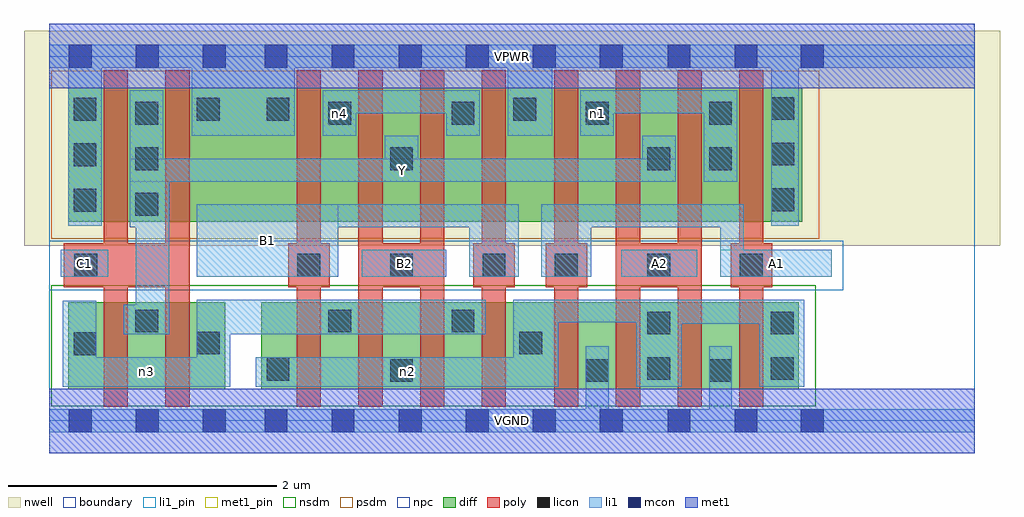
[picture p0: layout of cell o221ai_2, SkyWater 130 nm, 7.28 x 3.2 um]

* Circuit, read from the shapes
.subckt o221ai_2 A1 A2 B1 B2 C1 VGND VPWR Y n1 n2 n3 n4
XM1 Y C1 n3 VSUBS sky130_fd_pr__nfet_01v8 w=0.65 l=0.18 m=2
XM2 n3 B1 n2 VSUBS sky130_fd_pr__nfet_01v8 w=0.65 l=0.18 m=2
XM3 n2 B2 n3 VSUBS sky130_fd_pr__nfet_01v8 w=0.65 l=0.18 m=2
XM4 VGND A1 n2 VSUBS sky130_fd_pr__nfet_01v8 w=0.65 l=0.18 m=2
XM5 n2 A2 VGND VSUBS sky130_fd_pr__nfet_01v8 w=0.65 l=0.18 m=2
XM6 Y C1 VPWR n5 sky130_fd_pr__pfet_01v8 w=1 l=0.18 m=2
XM7 n4 B1 VPWR n5 sky130_fd_pr__pfet_01v8 w=1 l=0.18 m=2
XM8 Y B2 n4 n5 sky130_fd_pr__pfet_01v8 w=1 l=0.18 m=2
XM9 n1 A1 VPWR n5 sky130_fd_pr__pfet_01v8 w=1 l=0.18 m=2
XM10 Y A2 n1 n5 sky130_fd_pr__pfet_01v8 w=1 l=0.18 m=2
.ends

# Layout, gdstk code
import gdstk
lib = gdstk.Library(unit=1e-6, precision=1e-09)
def R(c, l, rs):  # rectangles x0, y0, x1, y1
    for r in rs: c.add(gdstk.rectangle(r[:2], r[2:], *l))
def A(c, l, x, y, w, h, nx, ny, dx, dy):  # array of equal rectangles
    R(c, l, [(x+i*dx, y+j*dy, x+i*dx+w, y+j*dy+h) for i in range(nx) for j in range(ny)])
nwell = (64, 20)
diff = (65, 20)
poly = (66, 20)
licon = (66, 44)
li1_pin = (67, 16)
li1 = (67, 20)
mcon = (67, 44)
met1_pin = (68, 16)
met1 = (68, 20)
nsdm = (93, 44)
psdm = (94, 20)
npc = (95, 20)
boundary = (235, 4)

o221ai_2 = lib.new_cell('o221ai_2')
R(o221ai_2, nwell, [(-0.19,1.305,7.09,2.91), (0,1.305,6.9,2.91)])
R(o221ai_2, diff, [(0.14,0.235,1.31,0.885), (1.58,0.235,5.59,0.885), (0.14,1.485,5.615,2.485)])
A(o221ai_2, poly, 1.845, 0.105, 0.18, 2.51, 4, 1, 0.46, 0)
A(o221ai_2, poly, 3.765, 0.105, 0.18, 2.51, 4, 1, 0.46, 0)
R(o221ai_2, poly, [(0.405,0.105,0.585,2.615), (0.865,0.105,1.045,2.615), (0.105,0.995,1.045,1.325), (1.78,0.995,2.09,1.325), (2.305,0.995,2.945,1.325), (3.16,0.995,3.47,1.325), (3.7,0.995,4.01,1.325), (4.225,0.995,4.865,1.325), (5.08,0.995,5.39,1.325)])
A(o221ai_2, licon, 1.85, 1.075, 0.17, 0.17, 3, 1, 0.69, 0)
A(o221ai_2, licon, 3.77, 1.075, 0.17, 0.17, 3, 1, 0.69, 0)
A(o221ai_2, licon, 0.64, 1.53, 0.17, 0.17, 1, 3, 0, 0.34)
A(o221ai_2, licon, 0.18, 1.56, 0.17, 0.17, 1, 3, 0, 0.34)
A(o221ai_2, licon, 5.385, 1.565, 0.17, 0.17, 1, 3, 0, 0.34)
R(o221ai_2, licon, [(2.54,0.29,2.71,0.46), (4,0.29,4.17,0.46), (4.92,0.29,5.09,0.46), (1.62,0.3,1.79,0.47), (4.46,0.305,4.63,0.475), (5.38,0.305,5.55,0.475), (0.18,0.49,0.35,0.66), (1.1,0.495,1.27,0.665), (3.505,0.495,3.675,0.665), (4.46,0.645,4.63,0.815), (5.38,0.645,5.55,0.815), (0.64,0.66,0.81,0.83), (2.08,0.66,2.25,0.83), (3,0.66,3.17,0.83), (0.185,1.075,0.355,1.245), (2.54,1.87,2.71,2.04), (4.46,1.87,4.63,2.04), (4.92,1.87,5.09,2.04), (2.08,2.21,2.25,2.38), (3,2.21,3.17,2.38), (4,2.21,4.17,2.38), (4.92,2.21,5.09,2.38), (1.1,2.24,1.27,2.41), (1.62,2.24,1.79,2.41), (3.46,2.24,3.63,2.41)])
R(o221ai_2, li1_pin, [(0.085,1.075,0.44,1.275), (1.1,1.075,2.155,1.615), (2.33,1.075,2.96,1.275), (4.265,1.075,4.83,1.275), (5.005,1.075,5.835,1.275), (0.6,1.785,4.67,1.955)])
R(o221ai_2, li1, [(0,-0.085,6.9,0.085), (4,-0.085,4.17,0.555), (4.92,-0.085,5.09,0.555), (0.1,0.255,1.35,0.475), (0.1,0.255,0.35,0.895), (1.1,0.255,1.35,0.905), (1.54,0.255,3.795,0.475), (3.46,0.255,3.795,0.905), (4.375,0.255,4.715,0.905), (5.295,0.255,5.63,0.905), (0.555,0.645,0.895,0.865), (0.645,0.645,0.895,1.955), (1.1,0.645,3.255,0.905), (4.375,0.725,5.63,0.905), (3.46,0.735,5.63,0.905), (0.085,1.075,0.44,1.275), (1.1,1.075,2.155,1.615), (2.33,1.075,2.96,1.275), (3.13,1.075,3.5,1.615), (3.67,1.075,4.04,1.615), (4.265,1.075,4.83,1.275), (5.005,1.075,5.835,1.275), (5.005,1.075,5.18,1.615), (0.6,1.445,0.85,2.465), (1.1,1.445,3.5,1.615), (3.67,1.445,5.18,1.615), (0.14,1.455,0.39,2.805), (5.385,1.455,5.59,2.805), (0.6,1.785,4.67,1.955), (2.5,1.785,2.75,2.125), (4.42,1.785,4.67,2.125), (4.88,1.785,5.13,2.465), (1.06,2.125,1.83,2.805), (2.04,2.125,2.29,2.465), (2.96,2.125,3.21,2.465), (3.42,2.125,3.75,2.805), (3.96,2.125,4.21,2.465), (2.04,2.295,3.21,2.465), (3.96,2.295,5.13,2.465), (0,2.635,6.9,2.805)])
A(o221ai_2, mcon, 0.145, -0.085, 0.17, 0.17, 3, 2, 0.5, 2.72)
A(o221ai_2, mcon, 1.605, -0.085, 0.17, 0.17, 6, 2, 0.5, 2.72)
R(o221ai_2, mcon, [(4.61,-0.085,4.78,0.085), (5.11,-0.085,5.28,0.085), (5.605,-0.085,5.775,0.085), (4.61,2.635,4.78,2.805), (5.11,2.635,5.28,2.805), (5.605,2.635,5.775,2.805)])
R(o221ai_2, met1_pin, [(0,-0.24,6.9,0.24), (0,2.48,6.9,2.96)])
R(o221ai_2, met1, [(0,-0.24,6.9,0.24), (0,2.48,6.9,2.96)])
R(o221ai_2, nsdm, [(0.015,0.11,5.715,1.01)])
R(o221ai_2, psdm, [(0.015,1.36,5.74,2.61)])
R(o221ai_2, npc, [(0,0.975,5.92,1.345)])
R(o221ai_2, boundary, [(0,0,6.9,2.72)])
o221ai_2.add(gdstk.Label('A1', (5.42,1.175), layer=67, texttype=5))
o221ai_2.add(gdstk.Label('A2', (4.547,1.175), layer=67, texttype=5))
o221ai_2.add(gdstk.Label('B1', (1.627,1.345), layer=67, texttype=5))
o221ai_2.add(gdstk.Label('B2', (2.645,1.175), layer=67, texttype=5))
o221ai_2.add(gdstk.Label('C1', (0.262,1.175), layer=67, texttype=5))
o221ai_2.add(gdstk.Label('Y', (2.635,1.87), layer=67, texttype=5))
o221ai_2.add(gdstk.Label('n3', (0.725,0.365), layer=67, texttype=5))
o221ai_2.add(gdstk.Label('n2', (2.667,0.365), layer=67, texttype=5))
o221ai_2.add(gdstk.Label('n4', (2.165,2.295), layer=67, texttype=5))
o221ai_2.add(gdstk.Label('n1', (4.085,2.295), layer=67, texttype=5))
o221ai_2.add(gdstk.Label('VPWR', (3.45,2.72), layer=68, texttype=5))
o221ai_2.add(gdstk.Label('VGND', (3.45,0), layer=68, texttype=5))
o221ai_2.add(gdstk.Label('A1', (5.42,1.175), layer=67, texttype=16))
o221ai_2.add(gdstk.Label('A2', (4.547,1.175), layer=67, texttype=16))
o221ai_2.add(gdstk.Label('B1', (1.627,1.345), layer=67, texttype=16))
o221ai_2.add(gdstk.Label('B2', (2.645,1.175), layer=67, texttype=16))
o221ai_2.add(gdstk.Label('C1', (0.262,1.175), layer=67, texttype=16))
o221ai_2.add(gdstk.Label('Y', (2.635,1.87), layer=67, texttype=16))
o221ai_2.add(gdstk.Label('VPWR', (3.45,2.72), layer=68, texttype=16))
o221ai_2.add(gdstk.Label('VGND', (3.45,0), layer=68, texttype=16))

lib.write_gds('o221ai_2.gds')
